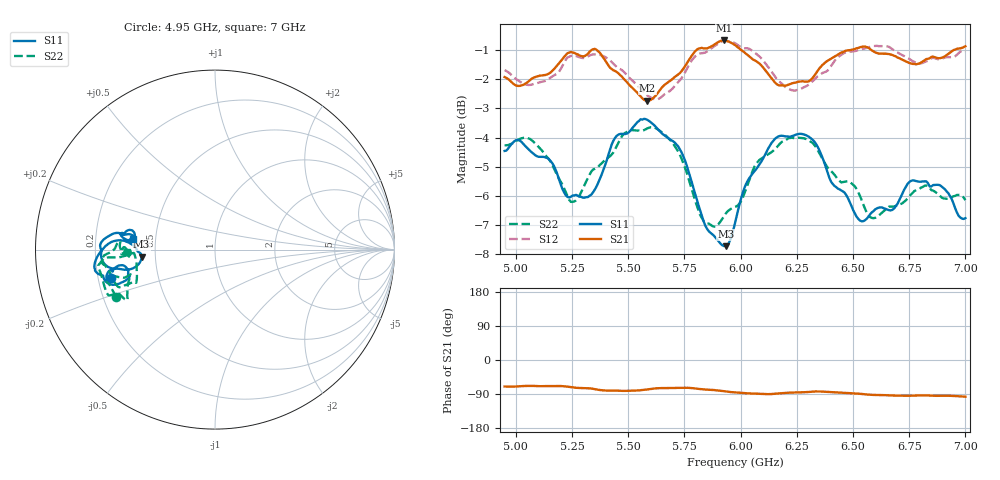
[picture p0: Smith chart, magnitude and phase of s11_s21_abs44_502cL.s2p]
! MS46122B
! 1919307/90821646
! 5/16/2022 1:45:53 PM
! C:\USERS\PC_\DESKTOP\CARACTERIZACION\MEDICIONES\BANDA ANCHA\S11_S21_ABS44_502C.S2P
! CHANNEL.1
! TR.MEASUREMENT
! CORRECTED.DATA
# GHZ S RI R 50.0
! FREQ.GHZ  S11RE  S11IM  S21RE  S21IM  S12RE  S12IM  S22RE  S22IM
!; PortSelection: Port_12
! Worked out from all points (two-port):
!   272 points, 4.95 GHz to 7 GHz, reference 50 ohm
!   highest |S21| = -0.67 dB at 5.926 GHz (marker M1); lowest = -2.7 dB at 5.585 GHz (marker M2)
!   |S21| within 3 dB of the highest: start of sweep to end of sweep
!   lowest |S11| = -7.7 dB at 5.933 GHz (marker M3), VSWR 2.40, Z = 20.9 - j2.02 ohm
!   |S11| at or under -10 dB: nowhere
!   |S22| runs from -7.1 to -3.6 dB; largest |S21 - S12| = 0.036
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4.95  -0.5775 -0.1573  0.2753 -0.7526  0.2905 -0.7704  -0.5523 -0.2638
5.03321  -0.6003 -0.1353  0.2839 -0.7234  0.2657 -0.7341  -0.6041 -0.1797
5.139114  -0.5696 -0.1206  0.2925 -0.755  0.2655 -0.7463  -0.5655 -0.1469
5.199631  -0.5174 -0.0869  0.3093 -0.7943  0.2977 -0.7716  -0.5063 -0.1568
5.29797  -0.4759 -0.1458  0.2393 -0.836  0.2604 -0.8234  -0.4824 -0.1828
5.358487  -0.4921 -0.1678  0.1887 -0.8724  0.2158 -0.8494  -0.4868 -0.2774
5.494649  -0.625 -0.1438  0.1173 -0.7764  0.1083 -0.7994  -0.594 -0.2529
5.585424  -0.6713 -0.0845  0.1571 -0.7125  0.1445 -0.7308  -0.6449 -0.1125
5.638376  -0.6474 -0.0252  0.2057 -0.7304  0.1777 -0.7146  -0.6441 -0.08
5.766974  -0.5521 0.0498  0.2447 -0.8178  0.233 -0.8028  -0.5372 -0.0429
5.84262  -0.4458 0.0154  0.1873 -0.8776  0.2082 -0.8578  -0.4511 -0.0193
5.92583  -0.41 -0.0322  0.1242 -0.9175  0.1528 -0.9115  -0.4352 -0.1568
5.933395  -0.4091 -0.0402  0.1154 -0.9181  0.1429 -0.9133  -0.4361 -0.1676
5.978782  -0.4462 -0.0983  0.0658 -0.9046  0.0793 -0.9105  -0.4451 -0.1813
6.084686  -0.5577 -0.1067  0.00857 -0.8447  -0.00185 -0.8687  -0.5397 -0.2075
6.160332  -0.6286 -0.0587  0.0178 -0.7791  0.00571 -0.7961  -0.5973 -0.1082
6.319188  -0.6241 0.0522  0.0917 -0.7922  0.0739 -0.7841  -0.6174 -0.0321
6.440221  -0.5068 0.0875  0.0636 -0.8768  0.0919 -0.866  -0.5295 0.0475
6.515867  -0.4514 0.0973  0.0239 -0.8974  0.0406 -0.8882  -0.5148 -0.0168
6.659594  -0.4707 0.0556  -0.0511 -0.876  -0.0521 -0.9012  -0.4792 -0.0338
6.765498  -0.5261 0.085  -0.0605 -0.8418  -0.0752 -0.8497  -0.5074 0.0136
7  -0.4553 0.06  -0.1067 -0.8985  -0.1018 -0.8819  -0.4929 -0.0145
